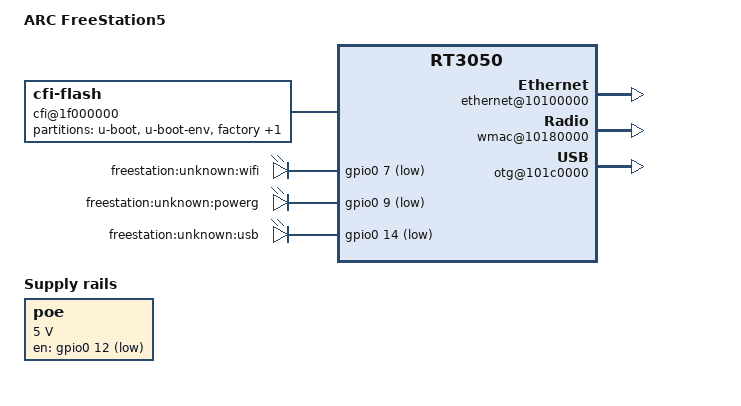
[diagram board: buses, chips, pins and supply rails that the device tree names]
/dts-v1/;

/include/ "rt3050.dtsi"

/ {
	compatible = "FREESTATION5", "ralink,rt3050-soc";
	model = "ARC FreeStation5";

	chosen {
		bootargs = "console=ttyS0,115200";
	};

	palmbus@10000000 {
		sysc@0 {
			ralink,pinmux = "i2c", "spi", "uartlite", "jtag", "mdio", "sdram", "rgmii";
			ralink,uartmux = "gpio";
			ralink,wdtmux = <1>;
		};

		gpio0: gpio@600 {
			status = "okay";
		};
	};

	cfi@1f000000 {
		compatible = "cfi-flash";
		reg = <0x1f000000 0x800000>;

		bank-width = <2>;
		device-width = <2>;
		#address-cells = <1>;
		#size-cells = <1>;

		partition@0 {
			label = "u-boot";
			reg = <0x0 0x30000>;
			read-only;
		};

		partition@30000 {
			label = "u-boot-env";
			reg = <0x30000 0x10000>;
			read-only;
		};

		factory: partition@40000 {
			label = "factory";
			reg = <0x40000 0x10000>;
			read-only;
		};

		partition@50000 {
			label = "firmware";
			reg = <0x50000 0x7b0000>;
		};
	};

	ethernet@10100000 {
		status = "okay";
	};

	esw@10110000 {
		status = "okay";
		ralink,portmap = <0x01>;
	};

	wmac@10180000 {
		status = "okay";
	};

	otg@101c0000 {
		status = "okay";
	};

	poe: gpio-regulator {
		// Used to enable power-over-ethernet passthrough from port0 to port1.
		// Disable passthrough by default to prevent accidental equipment damage.
		compatible = "regulator-gpio";

		regulator-name = "poe-power";
		regulator-min-microvolt = <5000000>;
		regulator-max-microvolt = <5000000>;

		enable-gpio = <&gpio0 12 0>;
	};

	gpio-leds {
		compatible = "gpio-leds";
		// The following leds are defined in the ArcOS firmware, but reportedly
		// not present in the Freestation5 device.
		wifi {
			label = "freestation:unknown:wifi";
			gpios = <&gpio0 7 1>;
		};
		powerg {
			label = "freestation:unknown:powerg";
			gpios = <&gpio0 9 1>;
		};
		usb {
			label = "freestation:unknown:usb";
			gpios = <&gpio0 14 1>;
		};
	};
};
